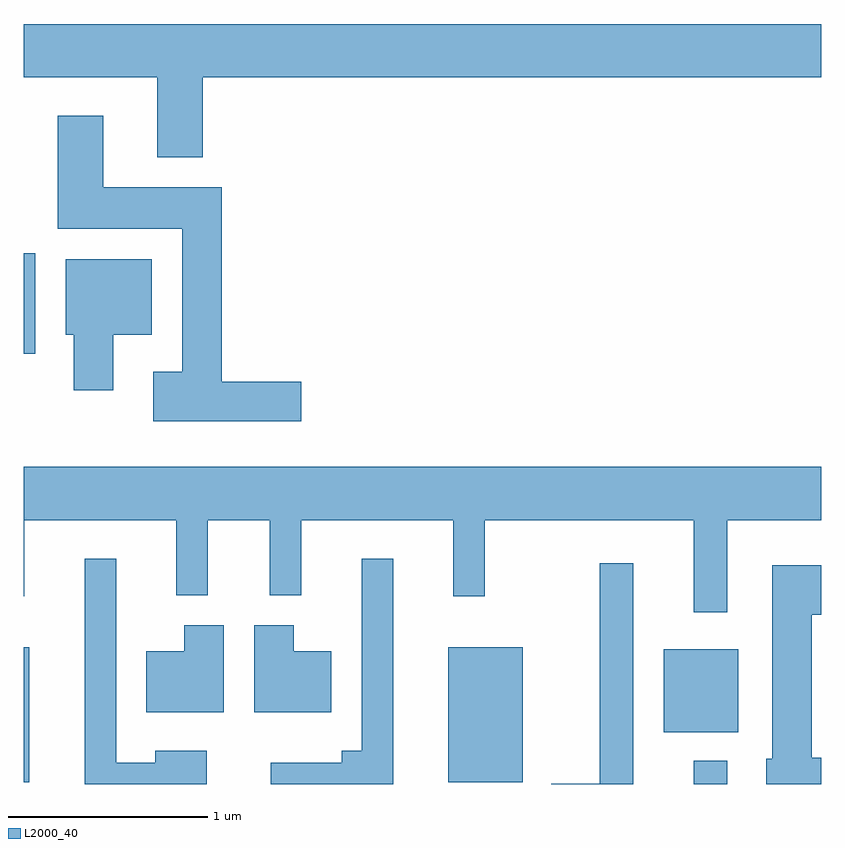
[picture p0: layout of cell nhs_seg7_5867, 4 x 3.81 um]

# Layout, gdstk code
import gdstk
lib = gdstk.Library(unit=1e-6, precision=1e-09)
def R(c, l, rs):  # rectangles x0, y0, x1, y1
    for r in rs: c.add(gdstk.rectangle(r[:2], r[2:], *l))
def P(c, l, *ps):  # polygons
    for p in ps: c.add(gdstk.Polygon(p, *l))
L2000_40 = (2000, 40)

nhs_seg7_5867 = lib.new_cell('nhs_seg7_5867')
R(nhs_seg7_5867, L2000_40, [(366.971,1786.252,367.139,1786.368), (363.611,1786.261,363.639,1786.939), (365.741,1786.261,366.114,1786.939), (366.821,1786.511,367.194,1786.929), (363.611,1788.411,363.669,1788.914)])
P(nhs_seg7_5867, L2000_40, [(364.509,1789.796),(367.611,1789.796),(367.611,1790.064),(363.611,1790.064),(363.611,1789.796),(364.281,1789.796),(364.281,1789.396),(364.509,1789.396)],
  [(365.004,1788.269),(364.604,1788.269),(364.604,1789.244),(364.009,1789.244),(364.009,1789.604),(363.781,1789.604),(363.781,1789.036),(364.406,1789.036),(364.406,1788.319),(364.261,1788.319),(364.261,1788.071),(365.004,1788.071)],
  [(364.059,1788.506),(364.254,1788.506),(364.254,1788.884),(363.821,1788.884),(363.821,1788.506),(363.861,1788.506),(363.861,1788.226),(364.059,1788.226)],
  [(367.139,1787.576),(367.611,1787.576),(367.611,1787.844),(363.611,1787.844),(363.611,1787.193),(363.614,1787.193),(363.614,1787.576),(364.376,1787.576),(364.376,1787.198),(364.534,1787.198),(364.534,1787.576),(364.846,1787.576),(364.846,1787.198),(365.004,1787.198),(365.004,1787.576),(365.766,1787.576),(365.766,1787.193),(365.924,1787.193),(365.924,1787.576),(366.971,1787.576),(366.971,1787.113),(367.139,1787.113)],
  [(364.529,1786.419),(364.271,1786.419),(364.271,1786.359),(364.074,1786.359),(364.074,1787.383),(363.916,1787.383),(363.916,1786.252),(364.529,1786.252)],
  [(365.464,1787.383),(365.306,1787.383),(365.306,1786.419),(365.206,1786.419),(365.206,1786.359),(364.851,1786.359),(364.851,1786.252),(365.464,1786.252)],
  [(366.669,1787.358),(366.501,1787.358),(366.501,1786.254),(366.256,1786.254),(366.256,1786.252),(366.669,1786.252)],
  [(367.611,1786.384),(367.564,1786.384),(367.564,1787.101),(367.611,1787.101),(367.611,1787.349),(367.366,1787.349),(367.366,1786.379),(367.336,1786.379),(367.336,1786.252),(367.611,1786.252)],
  [(365.154,1786.919),(364.964,1786.919),(364.964,1787.049),(364.766,1787.049),(364.766,1786.611),(365.154,1786.611)],
  [(364.614,1787.049),(364.416,1787.049),(364.416,1786.919),(364.226,1786.919),(364.226,1786.611),(364.614,1786.611)])

lib.write_gds('nhs_seg7_5867.gds')
